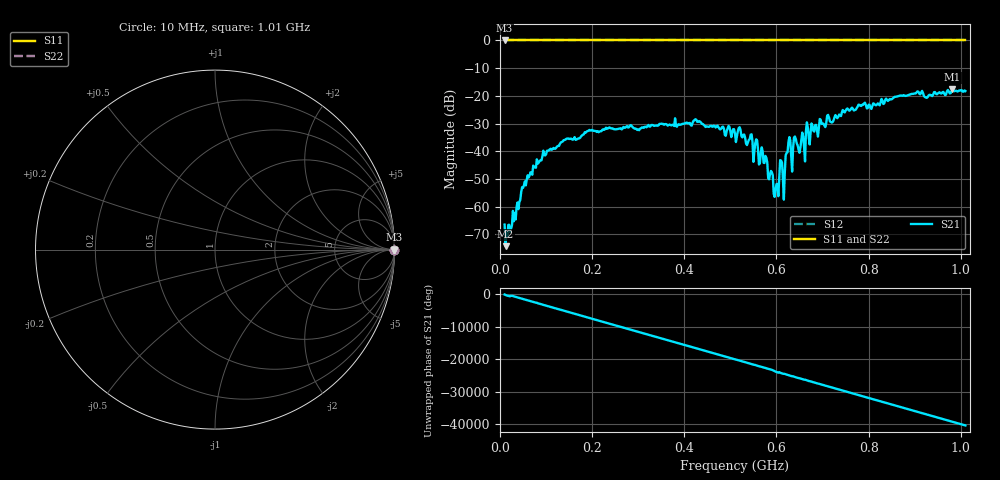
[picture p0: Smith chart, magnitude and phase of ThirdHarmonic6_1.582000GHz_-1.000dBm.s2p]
! 8/16/2025 6:50:03 PM
! C:\ANRITSUVNA\TEMP\TEMP.S2P
! CHANNEL.1
! TR.MEASUREMENT
! RAW.DATA
! RF.CORRECTION.OFF
! AVERAGING.OFF
! IF.BANDWIDTH: 5KHZ
! SWEEPTYPE:  FREQ.SWEEP(Linear)
! Reference Plane Port Info
! PORT:  PORT1  PORT2
! DISTANCE:  0  m  0  m
! TIME:  0  s  0  s
! PHASE.OFFSET:  0  deg.  0  deg.
! LOSS:  0  dB  0  dB
! REF.LOSS:  0  dB  0  dB
! REF.FREQ:  0  Hz  0  Hz
! Power Info
! POWER:  -20  dBm  -20  dBm
! EFF.POWER:  -20  dBm  -20  dBm
! SOURCE.ATTEN:  0  dB  0  dB
! TEST.ATTEN:  0  dB  0  dB
# GHZ S RI R 50.0
! FREQ.GHZ  S11RE  S11IM  S21RE  S21IM  S12RE  S12IM  S22RE  S22IM
!; PortSelection: Port_12
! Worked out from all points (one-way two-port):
!   501 points, 10 MHz to 1.01 GHz, reference 50 ohm
!   highest |S21| = -17.68 dB at 982 MHz (marker M1); lowest = -74.3 dB at 12 MHz (marker M2)
!   lowest |S11| = 0.0 dB at 10 MHz (marker M3)
!   |S11| at or under -10 dB: nowhere
!   |S22| runs from 0.0 to 0.0 dB; largest |S21 - S12| = 1.1
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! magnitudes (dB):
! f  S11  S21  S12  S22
! 10 MHz  0.0  -66.5  0.0  0.0
! 12 MHz  0.0  -74.3  0.0  0.0
! 76 MHz  0.0  -45.9  0.0  0.0
! 142 MHz  0.0  -35.8  0.0  0.0
! 178 MHz  0.0  -34.3  0.0  0.0
! 344 MHz  0.0  -30.6  0.0  0.0
! 424 MHz  0.0  -28.4  0.0  0.0
! 510 MHz  0.0  -33.7  0.0  0.0
! 520 MHz  0.0  -31.3  0.0  0.0
! 556 MHz  0.0  -35.7  0.0  0.0
! 600 MHz  0.0  -51.9  0.0  0.0
! 610 MHz  0.0  -43.4  0.0  0.0
! 618 MHz  0.0  -47.8  0.0  0.0
! 626 MHz  0.0  -36.7  0.0  0.0
! 634 MHz  0.0  -47.3  0.0  0.0
! 642 MHz  0.0  -35.6  0.0  0.0
! 648 MHz  0.0  -39.5  0.0  0.0
! 678 MHz  0.0  -30.9  0.0  0.0
! 752 MHz  0.0  -24.8  0.0  0.0
! 844 MHz  0.0  -21.5  0.0  0.0
! 982 MHz  0.0  -17.7  0.0  0.0
! 1.01 GHz  0.0  -18.3  0.0  0.0
